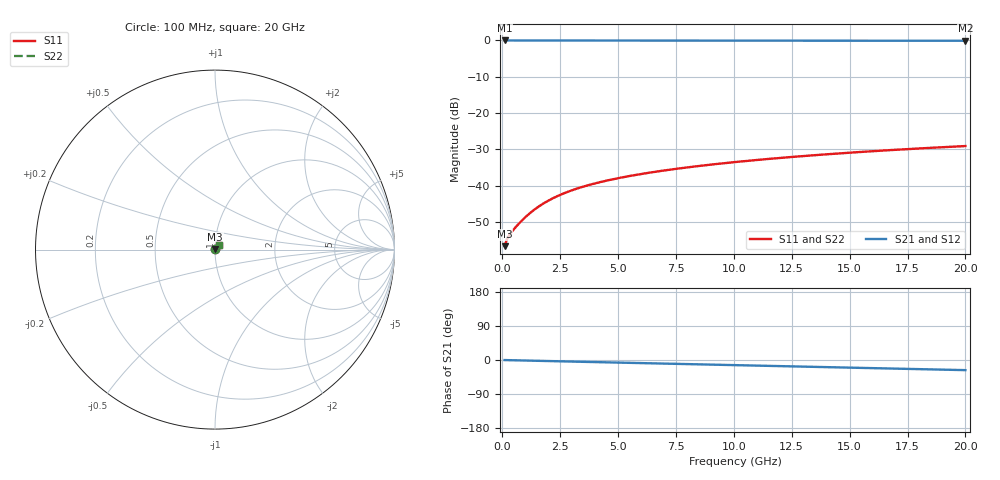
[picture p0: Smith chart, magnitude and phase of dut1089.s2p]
! Touchstone file exported from HFSS 2026.1.0
!  File:  C:/ffzhzh/LocalFiles/Ansys_Project_Files/temp_train_TMRDL_1089_1783161054_55132.aedt
!  Generated:  06:31:59 PM Jul  4, 2026
!  Design:  TMRDL
!  Project:  temp_train_TMRDL_1089_1783161054_55132
! Variables:
!  h_bsmrdl = 2um
!  h_ox = 20um
!  h_rdl = 5um
!  h_sub = 80um
!  h_tmrdl = 5.39um
!  h_tsv = 80um
!  h_via = 3um
!  l_bsmrdl = 300um
!  l_sub = 866.93um
!  l_tmrdl = 466.93um
!  m_sub = 200um
!  pitch = 36.16um
!  r_tsv = 6um
!  s_tmrdl = 10um
!  w_bsmrdl = 18um
!  w_sub = 500um
!  w_tmrdl = 28.99um
!  x_tsv_center1 = 481.425um
!  x_tsv_center2 = 799.425um
!  x_tsv_center3 = 1295.345um
!  x_tsv_center4 = 1613.345um
!  x_tsv_center5 = 2109.265um
!  x_tsv_center6 = 2427.265um
# GHz S MA R 50.000000
! Terminal data exported
! Port[1] = TM_RDL1_1_T1
! Port[2] = TM_RDL1_1_T2
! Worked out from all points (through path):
!   200 points, 100 MHz to 20 GHz, reference 50 ohm
!   highest |S21| = -0.01 dB at 100 MHz (marker M1); lowest = -0.1 dB at 20 GHz (marker M2)
!   group delay of S21, straight-line fit = 3.7 ps
!   lowest |S11| = -56.7 dB at 100 MHz (marker M3), VSWR 1.00, Z = 50.1 + j0.0596 ohm
!   |S11| at or under -10 dB: start of sweep to end of sweep
!   |S22| runs from -56.7 to -29.1 dB; largest |S21 - S12| = 7.1e-15
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0.1  0.001466 23.9  0.9987 -0.2  0.9987 -0.2  0.001466 23.9
! Gamma 0 0 0 0
! Port Impedance 50 0 50 0
0.2  0.00183 30.6  0.9984 -0.3  0.9984 -0.3  0.00183 30.6
0.3  0.002085 34.5  0.9982 -0.4  0.9982 -0.4  0.002085 34.5
0.4  0.002301 38.2  0.9981 -0.6  0.9981 -0.6  0.002301 38.2
0.6  0.002731 45.0  0.998 -0.9  0.998 -0.9  0.002731 45.0
0.9  0.003439 52.2  0.9978 -1.3  0.9978 -1.3  0.003438 52.2
1.1  0.003941 55.3  0.9977 -1.5  0.9977 -1.5  0.003941 55.4
1.4  0.004712 58.4  0.9976 -2.0  0.9976 -2.0  0.004712 58.4
1.8  0.005738 60.5  0.9973 -2.5  0.9973 -2.5  0.005739 60.5
2.3  0.00698 61.5  0.997 -3.2  0.997 -3.2  0.006981 61.5
2.9  0.008385 61.7  0.9965 -4.0  0.9965 -4.0  0.008386 61.7
3.5  0.009698 61.4  0.9961 -4.8  0.9961 -4.8  0.009698 61.4
4.2  0.01113 60.9  0.9955 -5.8  0.9955 -5.8  0.01113 60.9
4.9  0.01247 60.3  0.9951 -6.7  0.9951 -6.7  0.01247 60.3
5.8  0.01411 59.6  0.9945 -7.9  0.9945 -7.9  0.01411 59.5
6.8  0.01585 58.7  0.9939 -9.3  0.9939 -9.3  0.01585 58.7
8.3  0.01833 57.5  0.9932 -11.3  0.9932 -11.3  0.01834 57.5
10.1  0.02119 56.0  0.9924 -13.6  0.9924 -13.6  0.02119 56.0
11.7  0.02363 54.6  0.9917 -15.8  0.9917 -15.8  0.02363 54.5
13.4  0.02614 53.0  0.991 -18.0  0.991 -18.0  0.02614 52.9
16.7  0.03077 49.7  0.9899 -22.4  0.9899 -22.4  0.03077 49.6
20  0.03509 46.2  0.9888 -26.7  0.9888 -26.7  0.0351 46.1
